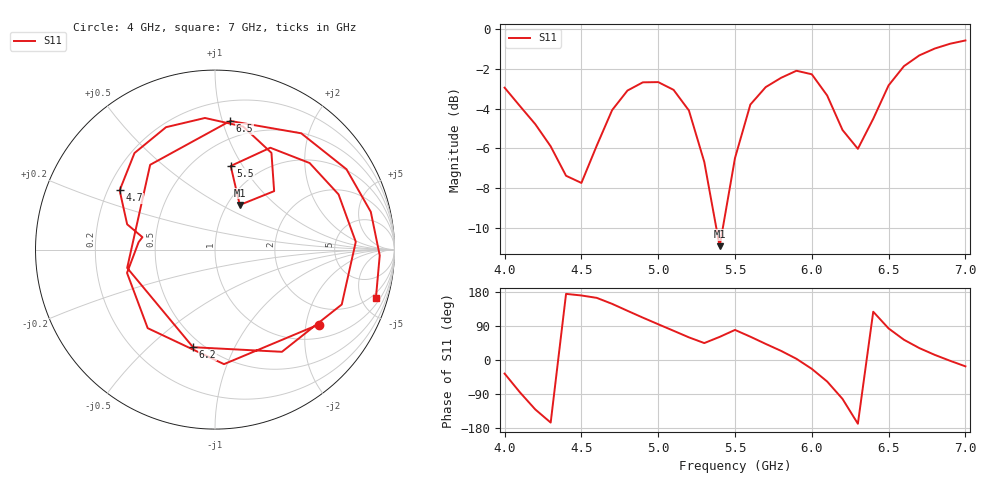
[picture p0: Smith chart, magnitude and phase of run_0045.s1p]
! Touchstone file exported from HFSS 2024.2.0
!  File:  C:/Users/wsak9/Desktop/Sim Fast/Widenad Patch/WP_AI_V1_sweep.aedt
!  Generated:  04:44:16 PM Oct 13, 2026
!  Design:  A1_model
!  Project:  WP_AI_V1_sweep
!  Setup:  Setup1
!  Solution:  Sweep
! Variables:
!  Air_gap = 1.78mm
!  Curve_Amp1 = 3.33
!  Curve_len1 = 1
!  Curve_pos = 11.595mm
!  Extra = 2.38mm
!  H_sub = 0.79mm
!  L_Patch = 19.19mm
!  L_Patch1 = 18.47mm
!  Sx = 0.99mm
!  Sy = 0.74mm
!  WS = 0.84mm
!  W_Patch = 10.64mm
!  W_Patch1 = 16.09mm
!Data is not renormalized
# GHz S MA
! Terminal data exported
! Port[1] = 1
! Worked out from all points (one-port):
!   31 points, 4 GHz to 7 GHz, reference per port
!   lowest |S11| = -10.9 dB at 5.4 GHz (marker M1), VSWR 1.80
!   |S11| at or under -10 dB: 5.378 GHz to 5.421 GHz (42.41 MHz wide, 0.785 % of centre)
!   S11 on the Smith chart (normalised r, x): 4 GHz: 1.39, -2.36; 4.7 GHz: 0.25, +0.27; 5.5 GHz: 0.74, +0.89; 6.2 GHz: 0.44, -0.70; 6.5 GHz: 0.35, +1.06; 7 GHz: 1.49, -6.48
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4  0.7121 -35.9
4.1  0.6401 -85.5
4.2  0.5763 -130.6
4.3  0.507 -165.2
4.4  0.4276 174.5
4.5  0.4102 170.3
4.6  0.5092 163.9
4.7  0.6254 148.2
4.8  0.7004 129.8
5  0.7355 94.4
5.1  0.7033 77.1
5.2  0.624 59.7
5.3  0.4634 44.7
5.4  0.2845 61.0
5.5  0.4739 79.4
5.6  0.6458 61.5
5.7  0.7146 42.5
5.9  0.7855 3.2
6  0.7696 -23.4
6.1  0.6807 -56.8
6.2  0.5574 -102.7
6.3  0.4999 -168.2
6.4  0.5947 127.4
6.5  0.7217 83.3
6.6  0.8066 53.4
6.7  0.8585 31.4
6.8  0.8931 13.6
7  0.9361 -16.7
